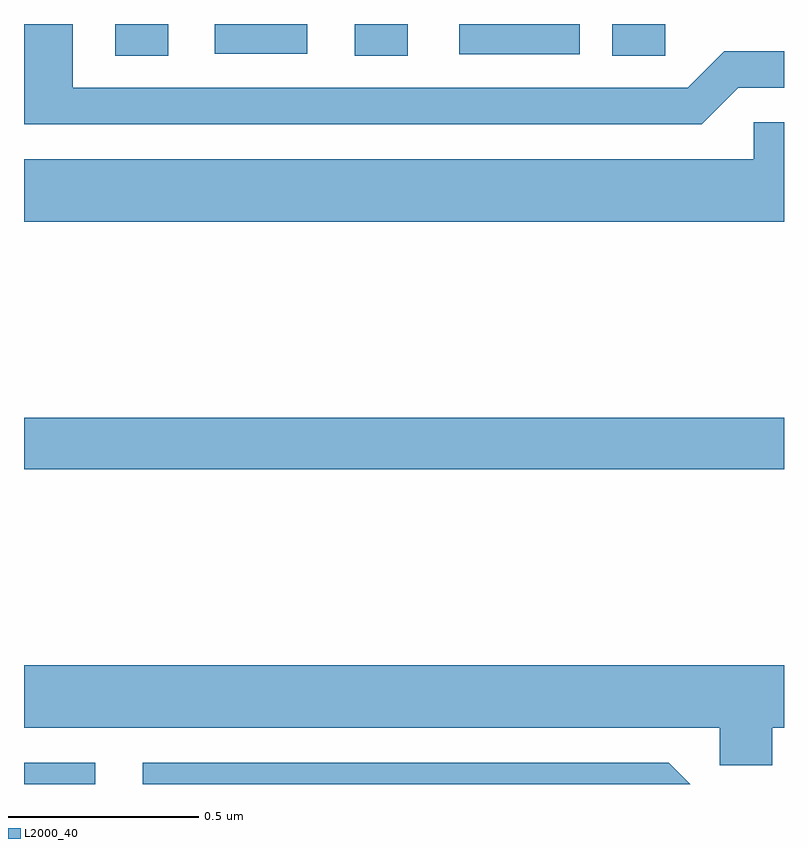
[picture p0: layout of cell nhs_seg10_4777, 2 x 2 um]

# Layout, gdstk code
import gdstk
lib = gdstk.Library(unit=1e-6, precision=1e-09)
def R(c, l, rs):  # rectangles x0, y0, x1, y1
    for r in rs: c.add(gdstk.rectangle(r[:2], r[2:], *l))
def P(c, l, *ps):  # polygons
    for p in ps: c.add(gdstk.Polygon(p, *l))
L2000_40 = (2000, 40)

nhs_seg10_4777 = lib.new_cell('nhs_seg10_4777')
R(nhs_seg10_4777, L2000_40, [(170,1301.5,170.188,1301.556), (170,1302.328,172,1302.464), (170.24,1303.417,170.38,1303.5), (170.87,1303.417,171.01,1303.5), (171.548,1303.417,171.687,1303.5), (171.146,1303.421,171.463,1303.5), (170.502,1303.422,170.746,1303.5)])
P(nhs_seg10_4777, L2000_40, [(171.879,1303.332),(172,1303.332),(172,1303.428),(171.843,1303.428),(171.747,1303.332),(170.128,1303.332),(170.128,1303.5),(170,1303.5),(170,1303.236),(171.783,1303.236)],
  [(172,1303.242),(171.921,1303.242),(171.921,1303.144),(170,1303.144),(170,1302.98),(172,1302.98)],
  [(171.969,1301.648),(172,1301.648),(172,1301.812),(170,1301.812),(170,1301.648),(171.831,1301.648),(171.831,1301.55),(171.969,1301.55)],
  [(171.697,1301.556),(170.312,1301.556),(170.312,1301.5),(171.753,1301.5)])

lib.write_gds('nhs_seg10_4777.gds')
